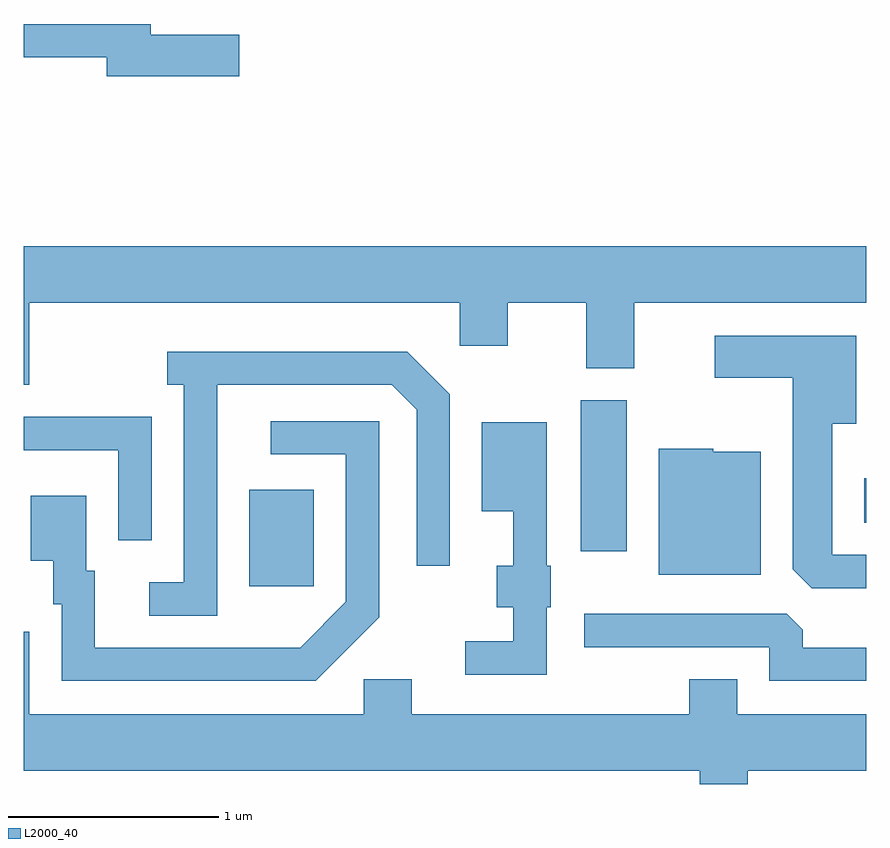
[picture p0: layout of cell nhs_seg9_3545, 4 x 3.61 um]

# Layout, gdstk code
import gdstk
lib = gdstk.Library(unit=1e-6, precision=1e-09)
def R(c, l, rs):  # rectangles x0, y0, x1, y1
    for r in rs: c.add(gdstk.rectangle(r[:2], r[2:], *l))
def P(c, l, *ps):  # polygons
    for p in ps: c.add(gdstk.Polygon(p, *l))
L2000_40 = (2000, 40)

nhs_seg9_3545 = lib.new_cell('nhs_seg9_3545')
R(nhs_seg9_3545, L2000_40, [(290.681,1979.371,290.989,1979.829), (292.256,1979.536,292.474,1980.254), (293.601,1979.671,293.611,1979.884)])
P(nhs_seg9_3545, L2000_40, [(290.634,1981.989),(290.214,1981.989),(290.214,1982.039),(289.611,1982.039),(289.611,1981.881),(290.006,1981.881),(290.006,1981.791),(290.634,1981.791)],
  [(289.611,1980.326),(289.639,1980.326),(289.639,1980.716),(291.681,1980.716),(291.681,1980.511),(291.909,1980.511),(291.909,1980.716),(292.281,1980.716),(292.281,1980.406),(292.509,1980.406),(292.509,1980.716),(293.611,1980.716),(293.611,1980.984),(289.611,1980.984)],
  [(293.611,1979.519),(293.449,1979.519),(293.449,1980.141),(293.564,1980.141),(293.564,1980.559),(292.891,1980.559),(292.891,1980.361),(293.261,1980.361),(293.261,1979.452),(293.352,1979.361),(293.611,1979.361)],
  [(290.529,1980.326),(291.359,1980.326),(291.476,1980.209),(291.476,1979.468),(291.634,1979.468),(291.634,1980.282),(291.432,1980.484),(290.293,1980.484),(290.293,1980.326),(290.371,1980.326),(290.371,1979.389),(290.208,1979.389),(290.208,1979.231),(290.529,1979.231)],
  [(290.219,1980.174),(289.611,1980.174),(289.611,1980.016),(290.061,1980.016),(290.061,1979.588),(290.219,1979.588)],
  [(291.299,1979.224),(291.299,1980.154),(290.783,1980.154),(290.783,1979.996),(291.141,1979.996),(291.141,1979.297),(290.924,1979.079),(289.949,1979.079),(289.949,1979.444),(289.909,1979.444),(289.909,1979.799),(289.646,1979.799),(289.646,1979.491),(289.751,1979.491),(289.751,1979.286),(289.791,1979.286),(289.791,1978.921),(290.997,1978.921)],
  [(292.094,1979.271),(292.114,1979.271),(292.114,1979.469),(292.094,1979.469),(292.094,1980.149),(291.786,1980.149),(291.786,1979.726),(291.936,1979.726),(291.936,1979.469),(291.856,1979.469),(291.856,1979.271),(291.936,1979.271),(291.936,1979.109),(291.708,1979.109),(291.708,1978.951),(292.094,1978.951)],
  [(293.109,1980.009),(292.885,1980.009),(292.885,1980.024),(292.626,1980.024),(292.626,1979.426),(293.109,1979.426)],
  [(293.611,1979.079),(293.309,1979.079),(293.309,1979.164),(293.234,1979.239),(292.273,1979.239),(292.273,1979.081),(293.151,1979.081),(293.151,1978.921),(293.611,1978.921)],
  [(293.049,1978.496),(293.611,1978.496),(293.611,1978.764),(292.999,1978.764),(292.999,1978.929),(292.771,1978.929),(292.771,1978.764),(291.454,1978.764),(291.454,1978.929),(291.226,1978.929),(291.226,1978.764),(289.639,1978.764),(289.639,1979.154),(289.611,1979.154),(289.611,1978.496),(292.821,1978.496),(292.821,1978.432),(293.049,1978.432)])

lib.write_gds('nhs_seg9_3545.gds')
